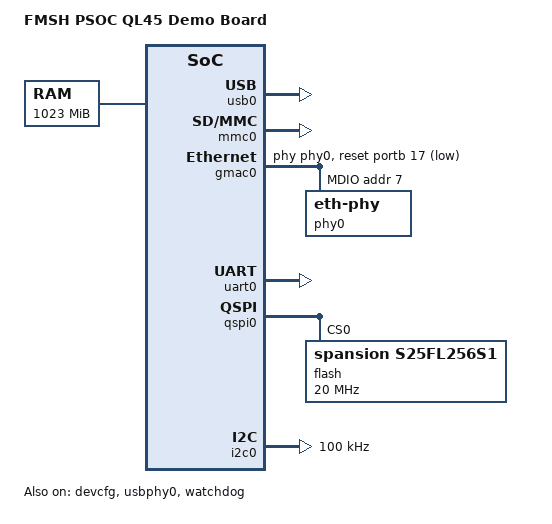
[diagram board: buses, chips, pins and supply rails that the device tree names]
/*
 * FMSH PSOC board DTS
 * Child board C EMMC_SRAM
 *
 * Copyright (C) 2018 FMSH, Inc.
 *
 * SPDX-License-Identifier:	GPL-2.0+
 */

#include "fmsh-psoc.dtsi"
#include <dt-bindings/gpio/gpio.h>

/ {
	model = "FMSH PSOC QL45 Demo Board";
	compatible = "fmsh,fmsh-psoc";

	memory {
		device_type = "memory";
		reg = <0x00100000 0x3ff00000>;
	};

	chosen {
		bootargs = "console=ttyPS0,115200 earlyprintk loglevel=8 root=/dev/ram rw";
		// bootargs = "console=ttyPS0,115200 earlyprintk loglevel=8 root=/dev/mmcblk0p2 rw";
		// bootargs = "console=ttyPS0,115200 earlyprintk loglevel=8 clk_ignore_unused root=/dev/ram rw";
		/* bootloader will place initrd at this address */
		linux,initrd-start = <0x12000000>;
		linux,initrd-end = <0x12800000>;
	};

	aliases {
			serial0 = &uart0;
			serial1 = &uart1;
	};
};

&clkc {
	ps-clk-frequency = <33333333>;
};

&dmahost {
	status = "okay";
};

&devcfg {
	status = "okay";
};

&usbphy0 {
	status = "okay";
};

&usb0 {
//	dr_mode = "peripheral";
	disable-over-current;
	hnp-srp-disable;
	status = "okay";
};

&watchdog {
	status = "okay";
};

&mmc0 {
	status = "okay";
//	clock-freq-min-max = <400000 400000>;
//	dmas = <&dmahost 0 0 0>;
//	dma-names = "rx-tx";
};

&gmac0 {
	status = "okay";
	phy-handle = <&phy0>;
	snps,reset-gpio = <&portb 17 GPIO_ACTIVE_LOW>;
	snps,reset-active-low;
	snps,reset-delays-us = <0 10000 100000>;
	mdio@0 {
		compatible = "snps,dwmac-mdio";
		#address-cells = <0x1>;
		#size-cells = <0x0>;

		phy0:eth-phy@0 {
			reg = <7>;
		};
	};
};

&uart0 {
	status = "okay";

//	dmas = <&dmahost 10 0 0>, <&dmahost 11 0 0>;
//	dma-names = "tx", "rx";
};

&qspi0 {
	status = "okay";

	flash: flash@0 {
		compatible = "spansion,s25fl256s1", "jedec,spi-nor";
		reg = <0>;
		spi-max-frequency = <20000000>;
		cdns,read-delay = <2>;
		cdns,tshsl-ns = <0>;
		cdns,tsd2d-ns = <0>;
		cdns,tchsh-ns = <0>;
		cdns,tslch-ns = <0>;
	};
};

&gpio0 {
	status = "okay";
};

&gpio1 {
	status = "okay";
};

&gpio2 {
	status = "okay";
};

&gpio3 {
	status = "okay";
};

&i2c0 {
	clock-frequency = <100000>;
	status = "okay";
};
